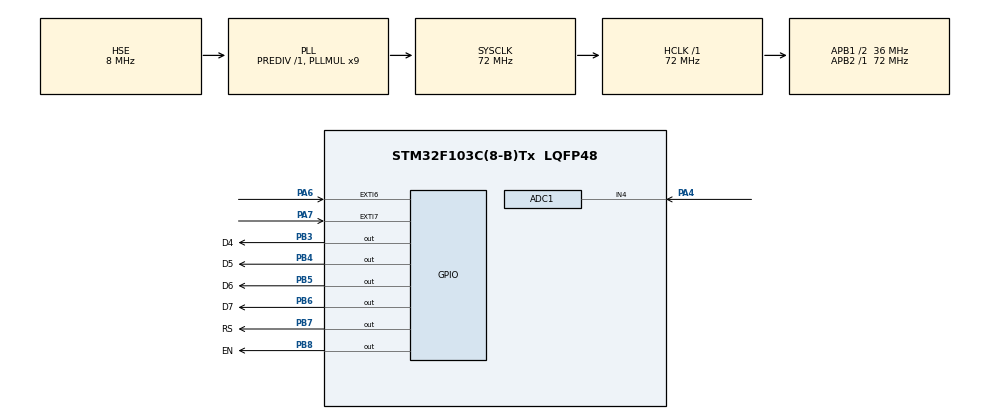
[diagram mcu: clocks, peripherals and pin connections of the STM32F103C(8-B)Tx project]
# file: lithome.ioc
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ADC1.Channel-13\#ChannelRegularConversion=ADC_CHANNEL_4
ADC1.NbrOfConversionFlag=1
ADC1.Rank-13\#ChannelRegularConversion=1
ADC1.SamplingTime-13\#ChannelRegularConversion=ADC_SAMPLETIME_239CYCLES_5
ADC1.master=1
Mcu.Family=STM32F1
Mcu.Name=STM32F103C(8-B)Tx
Mcu.Package=LQFP48
NVIC.ADC1_2_IRQn=true\:0\:0\:false\:false\:true\:true\:true\:true
NVIC.EXTI9_5_IRQn=true\:0\:0\:false\:false\:true\:true\:true\:true
NVIC.PriorityGroup=NVIC_PRIORITYGROUP_4
PA13.Mode=Serial_Wire
PA13.Signal=SYS_JTMS-SWDIO
PA14.Mode=Serial_Wire
PA14.Signal=SYS_JTCK-SWCLK
PA4.Signal=ADCx_IN4
PA6.Signal=GPXTI6
PA7.Signal=GPXTI7
PB3.GPIO_Label=D4
PB3.Signal=GPIO_Output
PB4.GPIO_Label=D5
PB4.Signal=GPIO_Output
PB5.GPIO_Label=D6
PB5.Signal=GPIO_Output
PB6.GPIO_Label=D7
PB6.Signal=GPIO_Output
PB7.GPIO_Label=RS
PB7.Signal=GPIO_Output
PB8.GPIO_Label=EN
PB8.Signal=GPIO_Output
PC14-OSC32_IN.Mode=LSE-External-Oscillator
PC14-OSC32_IN.Signal=RCC_OSC32_IN
PC15-OSC32_OUT.Mode=LSE-External-Oscillator
PC15-OSC32_OUT.Signal=RCC_OSC32_OUT
PD0-OSC_IN.Mode=HSE-External-Oscillator
PD0-OSC_IN.Signal=RCC_OSC_IN
PD1-OSC_OUT.Mode=HSE-External-Oscillator
PD1-OSC_OUT.Signal=RCC_OSC_OUT
ProjectManager.HeapSize=0x200
ProjectManager.StackSize=0x400
ProjectManager.TargetToolchain=STM32CubeIDE
RCC.ADCPresc=RCC_ADCPCLK2_DIV6
RCC.AHBFreq_Value=72000000
RCC.APB1CLKDivider=RCC_HCLK_DIV2
RCC.APB1Freq_Value=36000000
RCC.APB1TimFreq_Value=72000000
RCC.APB2Freq_Value=72000000
RCC.APB2TimFreq_Value=72000000
RCC.HCLKFreq_Value=72000000
RCC.PLLMUL=RCC_PLL_MUL9
RCC.PLLSourceVirtual=RCC_PLLSOURCE_HSE
RCC.SYSCLKFreq_VALUE=72000000
RCC.SYSCLKSource=RCC_SYSCLKSOURCE_PLLCLK
RCC.USBFreq_Value=72000000
SH.ADCx_IN4.0=ADC1_IN4,IN4
board=custom

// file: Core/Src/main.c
/* USER CODE BEGIN Header */
/**
 ******************************************************************************
 * @file           : main.c
 * @brief          : Main program body
 ******************************************************************************
 * @attention
 *
 * Copyright (c) 2025 STMicroelectronics.
 * All rights reserved.
 *
 * This software is licensed under terms that can be found in the LICENSE file
 * in the root directory of this software component.
 * If no LICENSE file comes with this software, it is provided AS-IS.
 *
 ******************************************************************************
 */
/* USER CODE END Header */
#include "main.h"

/* USER CODE BEGIN Includes */
#include "lcd.h"
#include "stdlib.h"
#include "stdio.h"
#include "math.h"
/* USER CODE END Includes */

ADC_HandleTypeDef hadc1;

/* USER CODE BEGIN PV */
float adc1_value;
float ppm;
int check = 0;
/* USER CODE END PV */

void SystemClock_Config(void);
static void MX_GPIO_Init(void);
static void MX_ADC1_Init(void);

/* USER CODE BEGIN 0 */

void delay(uint16_t t) {
	volatile unsigned long l = 0;
	for (uint16_t i = 0; i < t; i++) {
		for (l = 0; l < 6000; l++)
			;
	}
}

uint8_t usart1_recByte() {
	while ((USART1->SR & (1 << 5)) == 0)
		;
	return USART1->DR;
}

void USART1_Init(void) {
	RCC->APB2ENR |= (1 << 2) | (1 << 14); // Bật clock cho GPIOA và USART1

	/* Cấu hình chân TX (PA9) và RX (PA10) */
	GPIOA->CRH &= ~(0xFF << 4);  // Xóa cấu hình cũ
	GPIOA->CRH |= (0x0B << 4);    // PA9: AF Push-Pull, tốc độ cao
	GPIOA->CRH |= (0x04 << 8);    // PA10: Input pull-up
	GPIOA->ODR |= (1 << 10);      // Bật pull-up cho PA10

	/* Cấu hình USART1 */
	USART1->CR1 &= ~(1 << 13);   // Tắt USART1 trước khi cấu hình
	USART1->BRR = 7500;          // Baudrate = 72MHz / 9600
	USART1->CR1 = (1 << 2) | (1 << 3) | (1 << 13); // Bật RX, TX và USART1
}

void time_init_kitchen_door() {
	// Cấu hình clock cho GPIOA và TIM2
	RCC->APB1ENR |= (1 << 0);
	RCC->APB2ENR |= (1 << 2);

	TIM2->PSC = 1440 - 1;
	TIM2->ARR = 1000 - 1;
	// Cấu hình PA0 là alter function
	GPIOA->CRL &= ~(0xF << (4 * 0));
	GPIOA->CRL |= (0xB << (4 * 0));

	TIM2->CCMR1 &= ~(7 << 4);
	TIM2->CCMR1 |= (6 << 4);
	TIM2->CCMR1 |= (1 << 3);

	TIM2->CCER |= (1 << 0);
	TIM2->CR1 |= (1 << 0); // bật timer
}

void time_init_main_door() {
	RCC->APB1ENR |= (1 << 0);
	RCC->APB2ENR |= (1 << 2);

	TIM2->PSC = 1440 - 1;
	TIM2->ARR = 1000 - 1;

	GPIOA->CRL &= ~(0xF << (4 * 1));
	GPIOA->CRL |= (0xB << (4 * 1));

	TIM2->CCMR1 &= ~(7 << 12);
	TIM2->CCMR1 |= (6 << 12);
	TIM2->CCMR1 |= (1 << 11);
	TIM2->CCMR1 &= ~(3 << 8);

	TIM2->CCER |= (1 << 4);
	TIM2->CR1 |= (1 << 0); // bật timer
}

void time_init_bedroom_door() {
	RCC->APB1ENR |= (1 << 0);
	RCC->APB2ENR |= (1 << 2);

	TIM2->PSC = 1440 - 1;
	TIM2->ARR = 1000 - 1;

	GPIOA->CRL &= ~(0xF << (4 * 2));
	GPIOA->CRL |= (0xB << (4 * 2));

	TIM2->CCMR2 &= ~(7 << 4);
	TIM2->CCMR2 |= (6 << 4);
	TIM2->CCMR2 |= (1 << 3);
	TIM2->CCMR2 &= ~(3 << 0);

	TIM2->CCER |= (1 << 8);
	TIM2->CR1 |= (1 << 0);
}

void kitchen_door_on() {
	time_init_kitchen_door();
	TIM2->CCR1 = 80;
}

void kitchen_door_of() {
	time_init_kitchen_door();
	TIM2->CCR1 = 30;
}

void main_door_on() {
	time_init_main_door();
	TIM2->CCR2 = 30;
}

void main_door_of() {
	time_init_main_door();
	TIM2->CCR2 = 80;
}

void bedroom_door_on() {
	time_init_bedroom_door();
	TIM2->CCR3 = 30;
}

void bedroom_door_of() {
	time_init_bedroom_door();
	TIM2->CCR3 = 80;
}

void light_living_on() {
	GPIOB->ODR |= (1 << 0);
}

void light_living_of() {
	GPIOB->ODR &= ~(1 << 0);
}

void light_bedroom_on() {
	GPIOB->ODR |= (1 << 9);
}

void light_bedroom_of() {
	GPIOB->ODR &= ~(1 << 9);
}

void light_kitchen_on() {
	GPIOB->ODR |= (1 << 10);
}

void light_kitchen_of() {
	GPIOB->ODR &= ~(1 << 10);
}

void light_bathroom_on() {
	GPIOB->ODR |= (1 << 11);
}

void light_bathroom_of() {
	GPIOB->ODR &= ~(1 << 11);
}

void HAL_ADC_ConvCpltCallback(ADC_HandleTypeDef *hadc) {
	adc1_value = HAL_ADC_GetValue(&hadc1);
	float voltage = (adc1_value / 4096.0) * 5.0;
	float RS = ((5.0 - voltage) * 10.0) / voltage;
	float ratio = RS / 76.63;
	ppm = 105.19 * pow(ratio, -2.773);
	if (ppm > 1200) {
		GPIOB->BSRR |= (1 << 12);
		delay(100);
		GPIOB->BSRR |= (1 << 28);
		delay(100);
		time_init_kitchen_door();
		TIM2->CCR1 = 80;
		time_init_main_door();
		TIM2->CCR2 = 30;
		time_init_bedroom_door();
		TIM2->CCR3 = 30;
	} else {
		GPIOB->BSRR |= (1 << 28);
	}
	HAL_ADC_Start_IT(&hadc1);
}

void HAL_GPIO_EXTI_Callback(uint16_t GPIO_Pin) {
	if (GPIO_Pin == GPIO_PIN_7) {
		if (HAL_GPIO_ReadPin(GPIOA, GPIO_PIN_7) == GPIO_PIN_SET) {
			GPIOB->ODR |= (1 << 1);
		} else {
			GPIOB->ODR &= ~(1 << 1);
		}

	}
}

void tivi_bat() {
	LCD_setCursor(0, 0);
	LCD_printf("Fetel HCMUS");
	LCD_setCursor(1, 0);
	LCD_printf("Welcome home");
}

void tivi_tat() {
	LCD_clear();
}
/* USER CODE END 0 */

int main(void) {

	/* MCU Configuration--------------------------------------------------------*/

	/* Reset of all peripherals, Initializes the Flash interface and the Systick. */
	HAL_Init();

	/* Configure the system clock */
	SystemClock_Config();

	/* Initialize all configured peripherals */
	MX_GPIO_Init();
	MX_ADC1_Init();
	/* USER CODE BEGIN 2 */
	RCC->APB2ENR = 0xFC | (1 << 9);
	GPIOA->CRL = 0x44404444;
	GPIOB->CRH = 0x44433333;
	GPIOB->CRL = 0x33333433;
	LCD_init();
	LCD_clear();
	USART1_Init();
	time_init_kitchen_door();
	TIM2->CCR1 = 30;
	time_init_main_door();
	TIM2->CCR2 = 80;
	time_init_bedroom_door();
	TIM2->CCR3 = 80;
	HAL_ADCEx_Calibration_Start(&hadc1);
	HAL_ADC_Start_IT(&hadc1);
	/* USER CODE END 2 */

	/* Infinite loop */
	while (1) {

		/* USER CODE BEGIN 3 */
		char signals = usart1_recByte();
		switch (signals) {
		case 'A':
			light_living_on();
			break;
		case 'B':
			light_living_of();
			break;
		case 'E':
			tivi_bat();
			break;
		case 'F':
			tivi_tat();
			break;
		case 'G':
			main_door_on();
			break;
		case 'H':
			main_door_of();
			break;
		case 'Y':
			kitchen_door_on();
			break;
		case 'Z':
			kitchen_door_of();
			break;
		case 'I':
			light_kitchen_on();
			break;
		case 'J':
			light_kitchen_of();
			break;
		case 'K':
			light_bedroom_on();
			break;
		case 'L':
			light_bedroom_of();
			break;
		case 'M':
			bedroom_door_on();
			break;
		case 'N':
			bedroom_door_of();
			break;
		case 'O':
			light_bathroom_on();
			break;
		case 'P':
			light_bathroom_of();
			break;
		case 'S':
			bedroom_door_on();
			main_door_on();
			kitchen_door_on();
			LCD_clear();
			LCD_setCursor(0,0);
			LCD_printf("SOS");
			delay(100);
			break;
		case 'U':
			bedroom_door_of();
			kitchen_door_of();
			main_door_of();
			LCD_clear();
			LCD_setCursor(1,0);
			LCD_printf("Safety");
			delay(100);
			break;
		}
	}
	/* USER CODE END 3 */
}

void SystemClock_Config(void) {
	RCC_OscInitTypeDef RCC_OscInitStruct = { 0 };
	RCC_ClkInitTypeDef RCC_ClkInitStruct = { 0 };
	RCC_PeriphCLKInitTypeDef PeriphClkInit = { 0 };

	/** Initializes the RCC Oscillators according to the specified parameters
	 * in the RCC_OscInitTypeDef structure.
	 */
	RCC_OscInitStruct.OscillatorType = RCC_OSCILLATORTYPE_HSE;
	RCC_OscInitStruct.HSEState = RCC_HSE_ON;
	RCC_OscInitStruct.HSEPredivValue = RCC_HSE_PREDIV_DIV1;
	RCC_OscInitStruct.HSIState = RCC_HSI_ON;
	RCC_OscInitStruct.PLL.PLLState = RCC_PLL_ON;
	RCC_OscInitStruct.PLL.PLLSource = RCC_PLLSOURCE_HSE;
	RCC_OscInitStruct.PLL.PLLMUL = RCC_PLL_MUL9;
	if (HAL_RCC_OscConfig(&RCC_OscInitStruct) != HAL_OK) {
		Error_Handler();
	}

	/** Initializes the CPU, AHB and APB buses clocks
	 */
	RCC_ClkInitStruct.ClockType = RCC_CLOCKTYPE_HCLK | RCC_CLOCKTYPE_SYSCLK
			| RCC_CLOCKTYPE_PCLK1 | RCC_CLOCKTYPE_PCLK2;
	RCC_ClkInitStruct.SYSCLKSource = RCC_SYSCLKSOURCE_PLLCLK;
	RCC_ClkInitStruct.AHBCLKDivider = RCC_SYSCLK_DIV1;
	RCC_ClkInitStruct.APB1CLKDivider = RCC_HCLK_DIV2;
	RCC_ClkInitStruct.APB2CLKDivider = RCC_HCLK_DIV1;

	if (HAL_RCC_ClockConfig(&RCC_ClkInitStruct, FLASH_LATENCY_2) != HAL_OK) {
		Error_Handler();
	}
	PeriphClkInit.PeriphClockSelection = RCC_PERIPHCLK_ADC;
	PeriphClkInit.AdcClockSelection = RCC_ADCPCLK2_DIV6;
	if (HAL_RCCEx_PeriphCLKConfig(&PeriphClkInit) != HAL_OK) {
		Error_Handler();
	}
}

static void MX_ADC1_Init(void) {

	ADC_ChannelConfTypeDef sConfig = { 0 };

	/** Common config
	 */
	hadc1.Instance = ADC1;
	hadc1.Init.ScanConvMode = ADC_SCAN_DISABLE;
	hadc1.Init.ContinuousConvMode = DISABLE;
	hadc1.Init.DiscontinuousConvMode = DISABLE;
	hadc1.Init.ExternalTrigConv = ADC_SOFTWARE_START;
	hadc1.Init.DataAlign = ADC_DATAALIGN_RIGHT;
	hadc1.Init.NbrOfConversion = 1;
	if (HAL_ADC_Init(&hadc1) != HAL_OK) {
		Error_Handler();
	}

	/** Configure Regular Channel
	 */
	sConfig.Channel = ADC_CHANNEL_4;
	sConfig.Rank = ADC_REGULAR_RANK_1;
	sConfig.SamplingTime = ADC_SAMPLETIME_239CYCLES_5;
	if (HAL_ADC_ConfigChannel(&hadc1, &sConfig) != HAL_OK) {
		Error_Handler();
	}

}

static void MX_GPIO_Init(void) {
	GPIO_InitTypeDef GPIO_InitStruct = { 0 };

	/* GPIO Ports Clock Enable */
	__HAL_RCC_GPIOC_CLK_ENABLE();
	__HAL_RCC_GPIOD_CLK_ENABLE();
	__HAL_RCC_GPIOA_CLK_ENABLE();
	__HAL_RCC_GPIOB_CLK_ENABLE();

	/*Configure GPIO pin Output Level */
	HAL_GPIO_WritePin(GPIOB,
	D4_Pin | D5_Pin | D6_Pin | D7_Pin | RS_Pin | EN_Pin, GPIO_PIN_RESET);

	/*Configure GPIO pins : PA6 PA7 */
	GPIO_InitStruct.Pin = GPIO_PIN_6 | GPIO_PIN_7;
	GPIO_InitStruct.Mode = GPIO_MODE_IT_RISING;
	GPIO_InitStruct.Pull = GPIO_NOPULL;
	HAL_GPIO_Init(GPIOA, &GPIO_InitStruct);

	/*Configure GPIO pins : D4_Pin D5_Pin D6_Pin D7_Pin
	 RS_Pin EN_Pin */
	GPIO_InitStruct.Pin = D4_Pin | D5_Pin | D6_Pin | D7_Pin | RS_Pin | EN_Pin;
	GPIO_InitStruct.Mode = GPIO_MODE_OUTPUT_PP;
	GPIO_InitStruct.Pull = GPIO_NOPULL;
	GPIO_InitStruct.Speed = GPIO_SPEED_FREQ_LOW;
	HAL_GPIO_Init(GPIOB, &GPIO_InitStruct);

	/* EXTI interrupt init*/
	HAL_NVIC_SetPriority(EXTI9_5_IRQn, 0, 0);
	HAL_NVIC_EnableIRQ(EXTI9_5_IRQn);

}

void Error_Handler(void) {
	__disable_irq();
	while (1) {
	}
}
